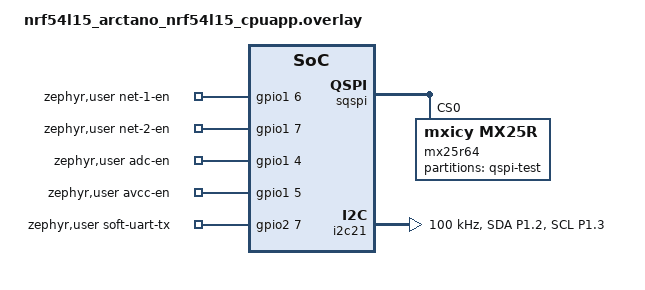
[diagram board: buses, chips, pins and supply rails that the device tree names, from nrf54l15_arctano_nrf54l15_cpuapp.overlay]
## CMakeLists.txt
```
cmake_minimum_required(VERSION 3.20.0)
find_package(Zephyr REQUIRED HINTS $ENV{ZEPHYR_BASE})

project(cp_hardware_test)

target_sources(app PRIVATE
	src/main.c
	src/net_enable.c
	src/i2c_scanner.c
	src/qspi.c
	src/rtc.c
	src/uart.c
)
```

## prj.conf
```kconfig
CONFIG_GPIO=y
CONFIG_I2C=y
CONFIG_FLASH=y

CONFIG_LOG=y
CONFIG_LOG_MODE_IMMEDIATE=y
CONFIG_LOG_DEFAULT_LEVEL=3
CONFIG_USE_SEGGER_RTT=y
CONFIG_LOG_BACKEND_RTT=y
```

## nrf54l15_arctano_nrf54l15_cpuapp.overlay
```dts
#include <zephyr/dt-bindings/gpio/gpio.h>
#include <zephyr/dt-bindings/i2c/i2c.h>
#include <zephyr/dt-bindings/pinctrl/nrf-pinctrl.h>

#define SP_RAM_REG_ADDR 0x2003c000
#define SP_RAM_UNIT_ADDR 2003c000

/ {
	zephyr,user {
		net-1-en-gpios = <&gpio1 6 GPIO_ACTIVE_HIGH>;
		net-2-en-gpios = <&gpio1 7 GPIO_ACTIVE_HIGH>;
		adc-en-gpios = <&gpio1 4 GPIO_ACTIVE_HIGH>;
		avcc-en-gpios = <&gpio1 5 GPIO_ACTIVE_HIGH>;
		soft-uart-tx-gpios = <&gpio2 7 GPIO_ACTIVE_HIGH>;
	};

	aliases {
		protocol-i2c = &i2c21;
	};
};

&uicr {
	nfct-pins-as-gpios;
};

&nfct {
	status = "disabled";
};

&pinctrl {
	i2c21_default: i2c21_default {
		group1 {
			psels = <NRF_PSEL(TWIM_SDA, 1, 2)>,
				<NRF_PSEL(TWIM_SCL, 1, 3)>;
			bias-pull-up;
		};
	};

	i2c21_sleep: i2c21_sleep {
		group1 {
			psels = <NRF_PSEL(TWIM_SDA, 1, 2)>,
				<NRF_PSEL(TWIM_SCL, 1, 3)>;
			low-power-enable;
		};
	};
};

&i2c21 {
	status = "okay";
	clock-frequency = <I2C_BITRATE_STANDARD>;
	pinctrl-0 = <&i2c21_default>;
	pinctrl-1 = <&i2c21_sleep>;
	pinctrl-names = "default", "sleep";
};

&pinctrl {
	sqspi_default: sqspi_default {
		group1 {
			psels = <NRF_PSEL(SDP_MSPI_SCK, 2, 1)>,
				<NRF_PSEL(SDP_MSPI_CS0, 2, 5)>,
				<NRF_PSEL(SDP_MSPI_DQ0, 2, 2)>;
			nordic,drive-mode = <NRF_DRIVE_E0E1>;
		};

		group2 {
			psels = <NRF_PSEL(SDP_MSPI_DQ1, 2, 4)>,
				<NRF_PSEL(SDP_MSPI_DQ2, 2, 3)>,
				<NRF_PSEL(SDP_MSPI_DQ3, 2, 0)>;
			nordic,drive-mode = <NRF_DRIVE_E0E1>;
			bias-pull-up;
		};
	};

	sqspi_sleep: sqspi_sleep {
		group1 {
			low-power-enable;
			psels = <NRF_PSEL(SDP_MSPI_SCK, 2, 1)>,
				<NRF_PSEL(SDP_MSPI_CS0, 2, 5)>,
				<NRF_PSEL(SDP_MSPI_DQ0, 2, 2)>,
				<NRF_PSEL(SDP_MSPI_DQ1, 2, 4)>,
				<NRF_PSEL(SDP_MSPI_DQ2, 2, 3)>,
				<NRF_PSEL(SDP_MSPI_DQ3, 2, 0)>;
		};
	};
};

&cpuflpr_vpr {
	pinctrl-0 = <&sqspi_default>;
	pinctrl-1 = <&sqspi_sleep>;
	pinctrl-names = "default", "sleep";
	interrupts = <76 NRF_DEFAULT_IRQ_PRIORITY>;
	status = "okay";
};

/ {
	reserved-memory {
		#address-cells = <1>;
		#size-cells = <1>;
		ranges;

		softperipheral_ram: memory@SP_RAM_UNIT_ADDR {
			reg = <SP_RAM_REG_ADDR 0x4000>;
			ranges = <0 SP_RAM_REG_ADDR 0x4000>;
			#address-cells = <1>;
			#size-cells = <1>;

			sqspi: sqspi@3b40 {
				compatible = "nordic,nrf-sqspi";
				#address-cells = <1>;
				#size-cells = <0>;
				reg = <0x3b40 0x200>;
				status = "okay";
				zephyr,pm-device-runtime-auto;
			};
		};
	};
};

&sqspi {
	mx25r64: mx25r6435f@0 {
		compatible = "mxicy,mx25r", "jedec,mspi-nor";
		status = "okay";
		reg = <0>;
		jedec-id = [c2 28 17];
		quad-enable-requirements = "S1B6";
		sfdp-bfp = [e5 20 f1 ff ff ff ff 03 44 eb 08 6b 08 3b 04 bb
			    ee ff ff ff ff ff 00 ff ff ff 00 ff 0c 20 0f 52
			    10 d8 00 ff 23 72 f5 00 82 ed 04 cc 44 83 68 44
			    30 b0 30 b0 f7 c4 d5 5c 00 be 29 ff f0 d0 ff ff];
		size = <67108864>;
		has-dpd;
		t-enter-dpd = <10000>;
		t-exit-dpd = <35000>;
		t-reset-pulse = <10000>;
		t-reset-recovery = <35000>;

		mspi-max-frequency = <DT_FREQ_M(8)>;
		mspi-io-mode = "MSPI_IO_MODE_QUAD_1_4_4";
		mspi-data-rate = "MSPI_DATA_RATE_SINGLE";
		mspi-hardware-ce-num = <1>;
		mspi-cpp-mode = "MSPI_CPP_MODE_0";
		mspi-endian = "MSPI_BIG_ENDIAN";
		mspi-ce-polarity = "MSPI_CE_ACTIVE_LOW";

		partitions {
			compatible = "fixed-partitions";
			#address-cells = <1>;
			#size-cells = <1>;

			qspi_test_partition: partition@7ff000 {
				label = "qspi-test";
				reg = <0x7ff000 0x1000>;
				status = "okay";
			};
		};
	};
};
```

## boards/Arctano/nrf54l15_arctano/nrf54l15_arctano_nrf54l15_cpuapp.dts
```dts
/dts-v1/;
#include <nordic/nrf54l15_cpuapp.dtsi>
#include "nrf54l15_arctano-pinctrl.dtsi"

/ {
	model = "Arctano nRF54L15 Application MCU";
	compatible = "arctano,nrf54l15-arctano-cpuapp";

	chosen {
		zephyr,code-partition = &slot0_partition;
		zephyr,sram = &cpuapp_sram;
		zephyr,flash = &cpuapp_rram;
		zephyr,flash-controller = &rram_controller;
		zephyr,ieee802154 = &ieee802154;
		zephyr,boot-mode = &boot_mode0;
	};
};

&cpuapp_sram {
	status = "okay";
};

&lfxo {
	load-capacitors = "internal";
	load-capacitance-femtofarad = <17000>;
};

&hfxo {
	load-capacitors = "internal";
	load-capacitance-femtofarad = <15000>;
};

&regulators {
	status = "okay";
};

&vregmain {
	status = "okay";
	regulator-initial-mode = <NRF5X_REG_MODE_DCDC>;
};

&grtc {
	owned-channels = <0 1 2 3 4 5 6 7 8 9 10 11>;
	child-owned-channels = <3 4 7 8 9 10 11>;
	status = "okay";
};

&gpio0 {
	status = "okay";
};

&gpio1 {
	status = "okay";
};

&gpio2 {
	status = "okay";
};

&gpiote20 {
	status = "okay";
};

&gpiote30 {
	status = "okay";
};

&radio {
	status = "okay";
};

&ieee802154 {
	status = "okay";
};

&temp {
	status = "okay";
};

&clock {
	status = "okay";
};

&gpregret1 {
	status = "okay";

	boot_mode0: boot_mode@0 {
		compatible = "zephyr,retention";
		status = "okay";
		reg = <0x0 0x1>;
	};
};

#include <vendor/nordic/nrf54l15_cpuapp_partition.dtsi>
```

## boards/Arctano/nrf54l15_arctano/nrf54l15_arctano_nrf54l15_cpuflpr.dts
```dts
/dts-v1/;
#include <nordic/nrf54l15_cpuflpr.dtsi>
#include "nrf54l15_arctano-pinctrl.dtsi"

/delete-node/ &cpuflpr_sram;

/ {
	model = "Arctano nRF54L15 FLPR MCU";
	compatible = "arctano,nrf54l15-arctano-cpuflpr";

	chosen {
		zephyr,code-partition = &cpuflpr_code_partition;
		zephyr,flash = &cpuflpr_rram;
		zephyr,sram = &cpuflpr_sram;
	};

	cpuflpr_sram: memory@20028000 {
		compatible = "mmio-sram";
		reg = <0x20028000 DT_SIZE_K(96)>;
		#address-cells = <1>;
		#size-cells = <1>;
		ranges = <0x0 0x20028000 DT_SIZE_K(96)>;
		status = "okay";
	};
};

&cpuflpr_rram {
	partitions {
		compatible = "fixed-partitions";
		#address-cells = <1>;
		#size-cells = <1>;

		cpuflpr_code_partition: partition@0 {
			label = "image-0";
			reg = <0x0 DT_SIZE_K(96)>;
		};
	};
};

&grtc {
	owned-channels = <3 4>;
	status = "okay";
};

&gpio0 {
	status = "okay";
};

&gpio1 {
	status = "okay";
};

&gpio2 {
	status = "okay";
};

&gpiote20 {
	status = "okay";
};

&gpiote30 {
	status = "okay";
};
```

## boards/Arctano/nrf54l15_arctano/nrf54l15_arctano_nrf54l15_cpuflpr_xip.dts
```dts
#include "nrf54l15_arctano_nrf54l15_cpuflpr.dts"

/ {
	model = "Arctano nRF54L15 FLPR MCU XIP";
	compatible = "arctano,nrf54l15-arctano-cpuflpr-xip";
};

&cpuflpr_sram {
	reg = <0x2002f000 DT_SIZE_K(68)>;
	ranges = <0x0 0x2002f000 DT_SIZE_K(68)>;
};
```

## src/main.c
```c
#include "i2c_scanner.h"
#include "net_enable.h"
#include "qspi.h"
#include "rtc.h"
#include "uart.h"

int main(void)
{
	(void)net_enable_init();
	(void)software_uart_send_hello();
	(void)qspi_flash_self_test();
	(void)i2c_scanner_scan();
	(void)rtc_test_start();
	return 0;
}
```

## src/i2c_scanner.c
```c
#include "i2c_scanner.h"

#include <errno.h>
#include <stdint.h>

#include <zephyr/device.h>
#include <zephyr/devicetree.h>
#include <zephyr/drivers/i2c.h>
#include <zephyr/logging/log.h>

LOG_MODULE_REGISTER(i2c_scanner, LOG_LEVEL_INF);

#define I2C_SCANNER_NODE DT_ALIAS(protocol_i2c)
#define I2C_SCANNER_FIRST_ADDRESS 0x08U
#define I2C_SCANNER_LAST_ADDRESS  0x77U

#if !DT_NODE_HAS_STATUS(I2C_SCANNER_NODE, okay)
#error "protocol-i2c alias must reference an enabled I2C controller"
#endif

static const struct device *const i2c_scanner_bus =
	DEVICE_DT_GET(I2C_SCANNER_NODE);

int i2c_scanner_scan(void)
{
	uint8_t dummy = 0U;
	int device_count = 0;

	if (!device_is_ready(i2c_scanner_bus)) {
		LOG_ERR("I2C bus %s is not ready", i2c_scanner_bus->name);
		return -ENODEV;
	}

	LOG_INF("Scanning I2C bus %s from 0x%02x to 0x%02x",
		i2c_scanner_bus->name,
		I2C_SCANNER_FIRST_ADDRESS,
		I2C_SCANNER_LAST_ADDRESS);

	for (uint16_t address = I2C_SCANNER_FIRST_ADDRESS;
	     address <= I2C_SCANNER_LAST_ADDRESS;
	     address++) {
		int ret = i2c_write(i2c_scanner_bus, &dummy, 0U, address);

		if (ret == 0) {
			LOG_INF("I2C device found at 0x%02x", address);
			device_count++;
		}
	}

	LOG_INF("I2C scan complete: %d device(s) found", device_count);
	return device_count;
}
```

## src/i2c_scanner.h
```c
#ifndef I2C_SCANNER_H_
#define I2C_SCANNER_H_

int i2c_scanner_scan(void);

#endif /* I2C_SCANNER_H_ */
```

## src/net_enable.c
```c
#include "net_enable.h"

#include <errno.h>

#include <zephyr/devicetree.h>
#include <zephyr/drivers/gpio.h>

#define NET_ENABLE_USER_NODE DT_PATH(zephyr_user)

#if !DT_NODE_HAS_PROP(NET_ENABLE_USER_NODE, net_1_en_gpios)
#error "zephyr,user must define net-1-en-gpios"
#endif

#if !DT_NODE_HAS_PROP(NET_ENABLE_USER_NODE, net_2_en_gpios)
#error "zephyr,user must define net-2-en-gpios"
#endif

#if !DT_NODE_HAS_PROP(NET_ENABLE_USER_NODE, adc_en_gpios)
#error "zephyr,user must define adc-en-gpios"
#endif

#if !DT_NODE_HAS_PROP(NET_ENABLE_USER_NODE, avcc_en_gpios)
#error "zephyr,user must define avcc-en-gpios"
#endif

static const struct gpio_dt_spec net_1_en =
	GPIO_DT_SPEC_GET(NET_ENABLE_USER_NODE, net_1_en_gpios);
static const struct gpio_dt_spec net_2_en =
	GPIO_DT_SPEC_GET(NET_ENABLE_USER_NODE, net_2_en_gpios);
static const struct gpio_dt_spec adc_en =
	GPIO_DT_SPEC_GET(NET_ENABLE_USER_NODE, adc_en_gpios);
static const struct gpio_dt_spec avcc_en =
	GPIO_DT_SPEC_GET(NET_ENABLE_USER_NODE, avcc_en_gpios);

int net_enable_init(void)
{
	int ret;

	if (!gpio_is_ready_dt(&net_1_en) ||
	    !gpio_is_ready_dt(&net_2_en) ||
	    !gpio_is_ready_dt(&adc_en) ||
	    !gpio_is_ready_dt(&avcc_en)) {
		return -ENODEV;
	}

	ret = gpio_pin_configure_dt(&net_1_en, GPIO_OUTPUT_ACTIVE);
	if (ret != 0) {
		return ret;
	}

	ret = gpio_pin_configure_dt(&net_2_en, GPIO_OUTPUT_ACTIVE);
	if (ret != 0) {
		return ret;
	}

	ret = gpio_pin_configure_dt(&adc_en, GPIO_OUTPUT_ACTIVE);
	if (ret != 0) {
		return ret;
	}

	return gpio_pin_configure_dt(&avcc_en, GPIO_OUTPUT_ACTIVE);
}
```

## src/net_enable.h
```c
#ifndef NET_ENABLE_H_
#define NET_ENABLE_H_

int net_enable_init(void);

#endif /* NET_ENABLE_H_ */
```

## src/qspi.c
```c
#include "qspi.h"

#include <errno.h>
#include <stddef.h>
#include <stdint.h>
#include <string.h>

#include <zephyr/device.h>
#include <zephyr/devicetree.h>
#include <zephyr/drivers/flash.h>
#include <zephyr/logging/log.h>

LOG_MODULE_REGISTER(qspi_flash_test, LOG_LEVEL_INF);

#define QSPI_TEST_PARTITION DT_NODELABEL(qspi_test_partition)
#define QSPI_TEST_OFFSET DT_REG_ADDR(QSPI_TEST_PARTITION)
#define QSPI_TEST_SIZE DT_REG_SIZE(QSPI_TEST_PARTITION)

static const struct device *const qspi_flash =
	DEVICE_DT_GET(DT_MTD_FROM_FIXED_PARTITION(QSPI_TEST_PARTITION));

static const uint8_t test_pattern[32] = "Arctano";

BUILD_ASSERT(DT_NODE_HAS_STATUS(QSPI_TEST_PARTITION, okay),
	     "qspi_test_partition must be enabled");
BUILD_ASSERT(QSPI_TEST_SIZE >= sizeof(test_pattern),
	     "qspi_test_partition is too small");

static int verify_erased(void)
{
	uint8_t buffer[sizeof(test_pattern)];
	int ret;

	ret = flash_read(qspi_flash, QSPI_TEST_OFFSET, buffer, sizeof(buffer));
	if (ret != 0) {
		LOG_ERR("Flash read after erase failed: %d", ret);
		return ret;
	}

	for (size_t i = 0; i < sizeof(buffer); i++) {
		if (buffer[i] != 0xffU) {
			LOG_ERR("Erase verification failed at byte %u: 0x%02x",
				(unsigned int)i, buffer[i]);
			return -EIO;
		}
	}

	return 0;
}

int qspi_flash_self_test(void)
{
	uint8_t read_buffer[sizeof(test_pattern)] = {0};
	int ret;

	if (!device_is_ready(qspi_flash)) {
		LOG_ERR("QSPI flash device %s is not ready", qspi_flash->name);
		return -ENODEV;
	}

	LOG_INF("Testing %s at offset 0x%lx", qspi_flash->name,
		(unsigned long)QSPI_TEST_OFFSET);

	ret = flash_erase(qspi_flash, QSPI_TEST_OFFSET, QSPI_TEST_SIZE);
	if (ret != 0) {
		LOG_ERR("QSPI test-sector erase failed: %d", ret);
		return ret;
	}

	ret = verify_erased();
	if (ret != 0) {
		return ret;
	}

	ret = flash_write(qspi_flash, QSPI_TEST_OFFSET,
			  test_pattern, sizeof(test_pattern));
	if (ret != 0) {
		LOG_ERR("QSPI test write failed: %d", ret);
		return ret;
	}

	ret = flash_read(qspi_flash, QSPI_TEST_OFFSET,
			 read_buffer, sizeof(read_buffer));
	if (ret != 0) {
		LOG_ERR("QSPI test read failed: %d", ret);
		return ret;
	}

	if (memcmp(test_pattern, read_buffer, sizeof(test_pattern)) != 0) {
		LOG_ERR("QSPI readback does not match written data");
		return -EIO;
	}

	LOG_INF("QSPI flash test passed; read back: \"%s\"", read_buffer);

	ret = flash_erase(qspi_flash, QSPI_TEST_OFFSET, QSPI_TEST_SIZE);
	if (ret != 0) {
		LOG_ERR("QSPI test-sector cleanup failed: %d", ret);
		return ret;
	}

	LOG_INF("QSPI test partition restored to erased state");
	return 0;
}
```

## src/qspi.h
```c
#ifndef QSPI_H_
#define QSPI_H_

int qspi_flash_self_test(void);

#endif /* QSPI_H_ */
```

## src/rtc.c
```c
#include "rtc.h"

#include <errno.h>
#include <stdint.h>

#include <zephyr/device.h>
#include <zephyr/devicetree.h>
#include <zephyr/drivers/i2c.h>
#include <zephyr/kernel.h>
#include <zephyr/logging/log.h>

LOG_MODULE_REGISTER(rtc_test, LOG_LEVEL_INF);

#define RTC_I2C_NODE DT_ALIAS(protocol_i2c)
#define PCF85363A_I2C_ADDRESS 0x51U
#define PCF85363A_TIME_REGISTER 0x00U
#define PCF85363A_STOP_ENABLE_REGISTER 0x2eU
#define PCF85363A_CPR_RESET 0xa4U
#define PCF85363A_OSCILLATOR_STOP_FLAG 0x80U
#define RTC_REPORT_INTERVAL K_SECONDS(30)

#if !DT_NODE_HAS_STATUS(RTC_I2C_NODE, okay)
#error "protocol-i2c alias must reference an enabled I2C controller"
#endif

struct rtc_datetime {
	uint16_t year;
	uint8_t month;
	uint8_t day;
	uint8_t weekday;
	uint8_t hour;
	uint8_t minute;
	uint8_t second;
	uint8_t hundredths;
};

static const struct device *const rtc_i2c_bus = DEVICE_DT_GET(RTC_I2C_NODE);

static uint8_t bin_to_bcd(uint8_t value)
{
	return (uint8_t)(((value / 10U) << 4) | (value % 10U));
}

static int bcd_to_bin(uint8_t value, uint8_t minimum, uint8_t maximum,
		      uint8_t *result)
{
	uint8_t tens = (value >> 4) & 0x0fU;
	uint8_t ones = value & 0x0fU;
	uint8_t decoded;

	if ((tens > 9U) || (ones > 9U)) {
		return -EINVAL;
	}

	decoded = (uint8_t)(tens * 10U + ones);
	if ((decoded < minimum) || (decoded > maximum)) {
		return -EINVAL;
	}

	*result = decoded;
	return 0;
}

static int rtc_read_datetime(struct rtc_datetime *datetime)
{
	uint8_t register_address = PCF85363A_TIME_REGISTER;
	uint8_t registers[8];
	uint8_t year;
	int ret;

	ret = i2c_write_read(rtc_i2c_bus, PCF85363A_I2C_ADDRESS,
			      &register_address, sizeof(register_address),
			      registers, sizeof(registers));
	if (ret != 0) {
		return ret;
	}

	if ((registers[1] & PCF85363A_OSCILLATOR_STOP_FLAG) != 0U) {
		return -ENODATA;
	}

	ret = bcd_to_bin(registers[0], 0U, 99U, &datetime->hundredths);
	if (ret != 0) {
		return ret;
	}

	ret = bcd_to_bin(registers[1] & 0x7fU, 0U, 59U, &datetime->second);
	if (ret != 0) {
		return ret;
	}

	ret = bcd_to_bin(registers[2] & 0x7fU, 0U, 59U, &datetime->minute);
	if (ret != 0) {
		return ret;
	}

	ret = bcd_to_bin(registers[3] & 0x3fU, 0U, 23U, &datetime->hour);
	if (ret != 0) {
		return ret;
	}

	ret = bcd_to_bin(registers[4] & 0x3fU, 1U, 31U, &datetime->day);
	if (ret != 0) {
		return ret;
	}

	datetime->weekday = registers[5] & 0x07U;
	if (datetime->weekday > 6U) {
		return -EINVAL;
	}

	ret = bcd_to_bin(registers[6] & 0x1fU, 1U, 12U, &datetime->month);
	if (ret != 0) {
		return ret;
	}

	ret = bcd_to_bin(registers[7], 0U, 99U, &year);
	if (ret != 0) {
		return ret;
	}

	datetime->year = 2000U + year;
	return 0;
}

static void rtc_log_datetime(const struct rtc_datetime *datetime)
{
	LOG_INF("RTC: %04u-%02u-%02u weekday=%u %02u:%02u:%02u.%02u",
		datetime->year, datetime->month, datetime->day,
		datetime->weekday, datetime->hour, datetime->minute,
		datetime->second, datetime->hundredths);
}

static void rtc_report_work_handler(struct k_work *work);
K_WORK_DELAYABLE_DEFINE(rtc_report_work, rtc_report_work_handler);

static void rtc_report_work_handler(struct k_work *work)
{
	struct rtc_datetime datetime;
	int ret;

	ARG_UNUSED(work);

	ret = rtc_read_datetime(&datetime);
	if (ret == 0) {
		rtc_log_datetime(&datetime);
	} else {
		LOG_ERR("PCF85363A time read failed at address 0x%02x: %d",
			PCF85363A_I2C_ADDRESS, ret);
	}

	(void)k_work_schedule(&rtc_report_work, RTC_REPORT_INTERVAL);
}

static int rtc_set_test_datetime(void)
{
	/* 2025-01-01 Wednesday 12:34:56.00. Weekday 0 is Sunday. */
	uint8_t stop_and_reset[] = {
		PCF85363A_STOP_ENABLE_REGISTER, 0x01U, PCF85363A_CPR_RESET
	};
	uint8_t time_registers[] = {
		PCF85363A_TIME_REGISTER,
		bin_to_bcd(0U),
		bin_to_bcd(56U),
		bin_to_bcd(34U),
		bin_to_bcd(12U),
		bin_to_bcd(1U),
		3U,
		bin_to_bcd(1U),
		bin_to_bcd(25U),
	};
	uint8_t restart[] = {PCF85363A_STOP_ENABLE_REGISTER, 0x00U};
	int write_ret;
	int restart_ret;
	int ret;

	ret = i2c_write(rtc_i2c_bus, stop_and_reset,
			 sizeof(stop_and_reset), PCF85363A_I2C_ADDRESS);
	if (ret != 0) {
		LOG_ERR("PCF85363A stop/reset failed: %d", ret);
		return ret;
	}

	write_ret = i2c_write(rtc_i2c_bus, time_registers,
			       sizeof(time_registers), PCF85363A_I2C_ADDRESS);
	restart_ret = i2c_write(rtc_i2c_bus, restart,
				 sizeof(restart), PCF85363A_I2C_ADDRESS);

	if (write_ret != 0) {
		LOG_ERR("PCF85363A time write failed: %d", write_ret);
		return write_ret;
	}

	if (restart_ret != 0) {
		LOG_ERR("PCF85363A restart failed: %d", restart_ret);
		return restart_ret;
	}

	return 0;
}

int rtc_test_start(void)
{
	struct rtc_datetime datetime;
	int ret;

	if (!device_is_ready(rtc_i2c_bus)) {
		LOG_ERR("RTC I2C bus %s is not ready", rtc_i2c_bus->name);
		return -ENODEV;
	}

	ret = rtc_set_test_datetime();
	if (ret != 0) {
		return ret;
	}

	ret = rtc_read_datetime(&datetime);
	if (ret != 0) {
		LOG_ERR("PCF85363A initial readback failed: %d", ret);
		return ret;
	}

	LOG_INF("PCF85363A detected at I2C address 0x%02x",
		PCF85363A_I2C_ADDRESS);
	rtc_log_datetime(&datetime);
	(void)k_work_schedule(&rtc_report_work, RTC_REPORT_INTERVAL);

	return 0;
}
```

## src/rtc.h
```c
#ifndef RTC_H_
#define RTC_H_

int rtc_test_start(void);

#endif /* RTC_H_ */
```

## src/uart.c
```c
#include "uart.h"

#include <errno.h>
#include <stddef.h>
#include <stdint.h>

#include <zephyr/devicetree.h>
#include <zephyr/drivers/gpio.h>
#include <zephyr/irq.h>
#include <zephyr/kernel.h>
#include <zephyr/logging/log.h>
#include <zephyr/sys/atomic.h>

LOG_MODULE_REGISTER(software_uart, LOG_LEVEL_INF);

#define SOFTWARE_UART_USER_NODE DT_PATH(zephyr_user)
#define SOFTWARE_UART_RX_NODE DT_NODELABEL(gpio2)
#define SOFTWARE_UART_RX_PIN 6U
#define SOFTWARE_UART_BAUD_RATE 9600U
#define SOFTWARE_UART_BIT_PERIOD_US 104U
#define SOFTWARE_UART_HALF_BIT_PERIOD_US 52U
#define SOFTWARE_UART_FIRST_DATA_SAMPLE_US 156U
#define SOFTWARE_UART_STOP_SAMPLE_US 988U
#define SOFTWARE_UART_RX_POLL_INTERVAL_US 16U
#define SOFTWARE_UART_RX_STACK_SIZE 1024U
#define SOFTWARE_UART_LOG_STACK_SIZE 1024U
#define SOFTWARE_UART_RX_PRIORITY 0
#define SOFTWARE_UART_LOG_PRIORITY 5
#define SOFTWARE_UART_RX_QUEUE_DEPTH 16U

#if !DT_NODE_HAS_PROP(SOFTWARE_UART_USER_NODE, soft_uart_tx_gpios)
#error "zephyr,user must define soft-uart-tx-gpios"
#endif

struct software_uart_rx_event {
	int status;
	uint8_t byte;
};

static const struct gpio_dt_spec software_uart_tx =
	GPIO_DT_SPEC_GET(SOFTWARE_UART_USER_NODE, soft_uart_tx_gpios);
static const struct device *const software_uart_rx_port =
	DEVICE_DT_GET(SOFTWARE_UART_RX_NODE);

static struct k_thread software_uart_rx_thread;
static struct k_thread software_uart_log_thread;
K_THREAD_STACK_DEFINE(software_uart_rx_stack, SOFTWARE_UART_RX_STACK_SIZE);
K_THREAD_STACK_DEFINE(software_uart_log_stack, SOFTWARE_UART_LOG_STACK_SIZE);
K_MSGQ_DEFINE(software_uart_rx_queue, sizeof(struct software_uart_rx_event),
	      SOFTWARE_UART_RX_QUEUE_DEPTH, 4);

static atomic_t software_uart_rx_started = ATOMIC_INIT(0);
static atomic_t software_uart_rx_dropped = ATOMIC_INIT(0);

static int software_uart_send_byte(uint8_t byte)
{
	int ret;

	/* Start bit. */
	ret = gpio_pin_set_dt(&software_uart_tx, 0);
	if (ret != 0) {
		return ret;
	}
	k_busy_wait(SOFTWARE_UART_BIT_PERIOD_US);

	/* Eight data bits, least-significant bit first. */
	for (uint8_t bit = 0U; bit < 8U; bit++) {
		ret = gpio_pin_set_dt(&software_uart_tx, (byte >> bit) & 0x01U);
		if (ret != 0) {
			return ret;
		}
		k_busy_wait(SOFTWARE_UART_BIT_PERIOD_US);
	}

	/* One stop bit. */
	ret = gpio_pin_set_dt(&software_uart_tx, 1);
	if (ret != 0) {
		return ret;
	}
	k_busy_wait(SOFTWARE_UART_BIT_PERIOD_US);

	return 0;
}

static void software_uart_wait_until(uint32_t deadline)
{
	while ((int32_t)(k_cycle_get_32() - deadline) < 0) {
		/* Busy-wait against an absolute deadline to avoid timing drift. */
	}
}

static int software_uart_receive_byte(uint32_t start_cycle, uint8_t *byte)
{
	unsigned int irq_key;
	uint8_t value = 0U;
	uint32_t deadline;
	int pin_state;
	int ret = 0;

	irq_key = irq_lock();

	deadline = start_cycle +
		   k_us_to_cyc_ceil32(SOFTWARE_UART_HALF_BIT_PERIOD_US);
	software_uart_wait_until(deadline);
	pin_state = gpio_pin_get(software_uart_rx_port, SOFTWARE_UART_RX_PIN);
	if (pin_state < 0) {
		ret = pin_state;
		goto out;
	}
	if (pin_state != 0) {
		ret = -EAGAIN;
		goto out;
	}

	for (uint8_t bit = 0U; bit < 8U; bit++) {
		deadline = start_cycle + k_us_to_cyc_ceil32(
			SOFTWARE_UART_FIRST_DATA_SAMPLE_US +
			(bit * SOFTWARE_UART_BIT_PERIOD_US));
		software_uart_wait_until(deadline);

		pin_state = gpio_pin_get(software_uart_rx_port,
					 SOFTWARE_UART_RX_PIN);
		if (pin_state < 0) {
			ret = pin_state;
			goto out;
		}
		value |= (uint8_t)((uint8_t)pin_state << bit);
	}

	deadline = start_cycle +
		   k_us_to_cyc_ceil32(SOFTWARE_UART_STOP_SAMPLE_US);
	software_uart_wait_until(deadline);
	pin_state = gpio_pin_get(software_uart_rx_port, SOFTWARE_UART_RX_PIN);
	if (pin_state < 0) {
		ret = pin_state;
		goto out;
	}
	if (pin_state == 0) {
		ret = -EBADMSG;
		goto out;
	}

	*byte = value;

out:
	irq_unlock(irq_key);
	return ret;
}

static void software_uart_queue_rx_event(int status, uint8_t byte)
{
	const struct software_uart_rx_event event = {
		.status = status,
		.byte = byte,
	};

	if (k_msgq_put(&software_uart_rx_queue, &event, K_NO_WAIT) != 0) {
		atomic_inc(&software_uart_rx_dropped);
	}
}

static void software_uart_rx_thread_entry(void *arg1, void *arg2, void *arg3)
{
	uint32_t previous_cycle;
	int previous_state;

	ARG_UNUSED(arg1);
	ARG_UNUSED(arg2);
	ARG_UNUSED(arg3);

	previous_state = gpio_pin_get(software_uart_rx_port, SOFTWARE_UART_RX_PIN);
	previous_cycle = k_cycle_get_32();

	while (true) {
		uint32_t current_cycle;
		int current_state;

		k_sleep(K_USEC(SOFTWARE_UART_RX_POLL_INTERVAL_US));
		current_cycle = k_cycle_get_32();
		current_state = gpio_pin_get(software_uart_rx_port,
					     SOFTWARE_UART_RX_PIN);

		if (current_state < 0) {
			software_uart_queue_rx_event(current_state, 0U);
			k_sleep(K_MSEC(100));
			previous_state = 1;
			previous_cycle = k_cycle_get_32();
			continue;
		}

		if ((previous_state > 0) && (current_state == 0)) {
			uint32_t start_cycle = previous_cycle +
				((current_cycle - previous_cycle) / 2U);
			uint8_t byte = 0U;
			int ret;

			ret = software_uart_receive_byte(start_cycle, &byte);
			software_uart_queue_rx_event(ret, byte);

			previous_state = gpio_pin_get(software_uart_rx_port,
						      SOFTWARE_UART_RX_PIN);
			previous_cycle = k_cycle_get_32();
			continue;
		}

		previous_state = current_state;
		previous_cycle = current_cycle;
	}
}

static void software_uart_log_thread_entry(void *arg1, void *arg2, void *arg3)
{
	struct software_uart_rx_event event;

	ARG_UNUSED(arg1);
	ARG_UNUSED(arg2);
	ARG_UNUSED(arg3);

	while (true) {
		k_msgq_get(&software_uart_rx_queue, &event, K_FOREVER);

		if (event.status == 0) {
			if ((event.byte >= 0x20U) && (event.byte <= 0x7eU)) {
				LOG_INF("Software UART RX: 0x%02x '%c'",
					event.byte, event.byte);
			} else {
				LOG_INF("Software UART RX: 0x%02x", event.byte);
			}
		} else if (event.status != -EAGAIN) {
			LOG_ERR("Software UART RX frame failed: %d", event.status);
		}

		if (atomic_set(&software_uart_rx_dropped, 0) != 0) {
			LOG_WRN("Software UART RX queue overflowed");
		}
	}
}

int software_uart_receive_start(void)
{
	int ret;

	if (!device_is_ready(software_uart_rx_port)) {
		LOG_ERR("Software UART RX GPIO port is not ready");
		return -ENODEV;
	}

	if (!atomic_cas(&software_uart_rx_started, 0, 1)) {
		return 0;
	}

	ret = gpio_pin_configure(software_uart_rx_port, SOFTWARE_UART_RX_PIN,
				 GPIO_INPUT | GPIO_PULL_UP);
	if (ret != 0) {
		LOG_ERR("Software UART RX configuration failed: %d", ret);
		atomic_clear(&software_uart_rx_started);
		return ret;
	}

	k_thread_create(&software_uart_log_thread, software_uart_log_stack,
			K_THREAD_STACK_SIZEOF(software_uart_log_stack),
			software_uart_log_thread_entry, NULL, NULL, NULL,
			K_PRIO_PREEMPT(SOFTWARE_UART_LOG_PRIORITY), 0, K_NO_WAIT);
	k_thread_name_set(&software_uart_log_thread, "software_uart_log");

	k_thread_create(&software_uart_rx_thread, software_uart_rx_stack,
			K_THREAD_STACK_SIZEOF(software_uart_rx_stack),
			software_uart_rx_thread_entry, NULL, NULL, NULL,
			K_PRIO_PREEMPT(SOFTWARE_UART_RX_PRIORITY), 0, K_NO_WAIT);
	k_thread_name_set(&software_uart_rx_thread, "software_uart_rx");

	LOG_INF("Software UART RX polling P2.6 at %u baud, 8-N-1",
		SOFTWARE_UART_BAUD_RATE);
	return 0;
}

int software_uart_send_hello(void)
{
	static const uint8_t message[] = {'H', 'E', 'L', 'L', 'O'};
	unsigned int irq_key;
	int ret = 0;

	if (!gpio_is_ready_dt(&software_uart_tx)) {
		LOG_ERR("Software UART TX GPIO is not ready");
		return -ENODEV;
	}

	/* UART is non-inverted and idles high. */
	ret = gpio_pin_configure_dt(&software_uart_tx, GPIO_OUTPUT_HIGH);
	if (ret != 0) {
		LOG_ERR("Software UART TX configuration failed: %d", ret);
		return ret;
	}
	k_busy_wait(SOFTWARE_UART_BIT_PERIOD_US);

	/* Prevent interrupt latency from changing bit timing. */
	irq_key = irq_lock();
	for (size_t i = 0U; i < sizeof(message); i++) {
		ret = software_uart_send_byte(message[i]);
		if (ret != 0) {
			break;
		}
	}

	/* Always return the line to the idle state before enabling IRQs. */
	(void)gpio_pin_set_dt(&software_uart_tx, 1);
	irq_unlock(irq_key);

	if (ret != 0) {
		LOG_ERR("Software UART transmission failed: %d", ret);
		return ret;
	}

	LOG_INF("Sent HELLO on P2.7 at %u baud, 8-N-1",
		SOFTWARE_UART_BAUD_RATE);

	return software_uart_receive_start();
}
```

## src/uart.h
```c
#ifndef UART_H_
#define UART_H_

int software_uart_send_hello(void);
int software_uart_receive_start(void);

#endif /* UART_H_ */
```
